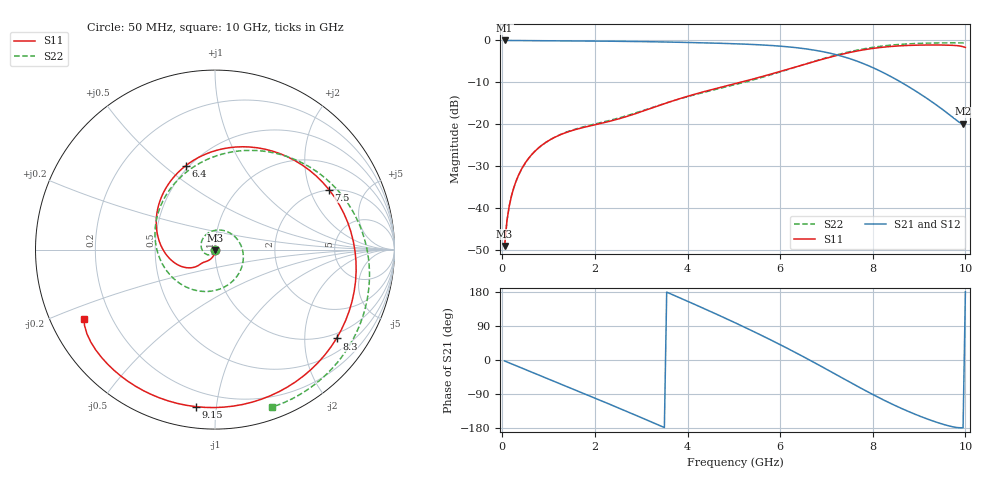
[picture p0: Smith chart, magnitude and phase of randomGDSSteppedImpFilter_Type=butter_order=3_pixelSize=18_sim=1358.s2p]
! freq	dB(S11)	phase(S11)	dB(S12)	phase(S12)
!  dB(S21)	phase(S21)	dB(S22)	phase(S22)
!S-par simulation data
#  GHz  S  DB  R 50
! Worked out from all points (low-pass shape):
!   200 points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, 50 MHz to 10 GHz, reference 50 ohm
!   highest |S21| = -0.01 dB at 50 MHz (marker M1); lowest = -19.9 dB at 9.95 GHz (marker M2)
!   |S21| within 3 dB of the highest: start of sweep to 7.061 GHz
!   lowest |S11| = -49.1 dB at 50 MHz (marker M3), VSWR 1.01, Z = 50 - j0.352 ohm
!   |S11| at or under -10 dB: start of sweep to 5.14 GHz
!   |S22| runs from -49.1 to -0.6 dB; largest |S21 - S12| = 0
!   S11 on the Smith chart (normalised r, x): 50 MHz: 1.00, -0.01; 6.4 GHz: 0.48, +0.59; 7.5 GHz: 1.98, +2.73; 8.3 GHz: 0.85, -2.83; 9.15 GHz: 0.11, -0.88; 10 GHz: 0.10, -0.25
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0.05  -49.06 -90.1  -0.01 -2.6  -0.01 -2.6  -49.08 -92.4
0.1  -43.03 -92.0  -0.01 -5.1  -0.01 -5.1  -43.06 -96.5
0.2  -37.00 -95.0  -0.02 -10.1  -0.02 -10.1  -37.04 -103.9
0.5  -29.16 -103.9  -0.04 -25.2  -0.04 -25.2  -29.21 -126.2
1.15  -23.01 -120.8  -0.09 -57.7  -0.09 -57.7  -22.98 -176.6
1.75  -20.77 -130.6  -0.14 -87.9  -0.14 -87.9  -20.62 132.5
2.5  -18.76 -135.1  -0.21 -126.1  -0.21 -126.1  -18.55 61.6
3.4  -15.47 -143.0  -0.35 -173.0  -0.35 -173.0  -15.41 -22.9
4.15  -12.85 -159.0  -0.52 147.0  -0.52 147.0  -12.96 -86.9
5.05  -10.25 173.9  -0.81 97.0  -0.81 97.0  -10.49 -160.6
5.65  -8.50 150.0  -1.11 61.9  -1.11 61.9  -8.69 152.1
6.4  -6.12 109.4  -1.80 15.3  -1.80 15.3  -6.13 98.5
6.7  -5.15 89.4  -2.25 -4.3  -2.25 -4.3  -5.11 79.2
7.1  -3.94 59.7  -3.11 -31.0  -3.11 -31.0  -3.81 55.1
7.5  -2.88 27.8  -4.34 -58.1  -4.34 -58.1  -2.70 32.6
7.9  -2.07 -4.7  -6.00 -84.6  -6.00 -84.6  -1.83 11.6
8.3  -1.53 -36.2  -8.09 -109.5  -8.09 -109.5  -1.23 -7.7
8.35  -1.48 -40.0  -8.38 -112.5  -8.38 -112.5  -1.17 -10.0
8.75  -1.20 -69.4  -10.88 -134.8  -10.88 -134.8  -0.83 -27.2
9.15  -1.10 -97.0  -13.69 -154.4  -13.69 -154.4  -0.65 -42.5
9.95  -1.50 -149.8  -19.88 -178.7  -19.88 -178.7  -0.60 -68.7
10  -1.67 -152.2  -19.69 179.9  -19.69 179.9  -0.60 -70.0
